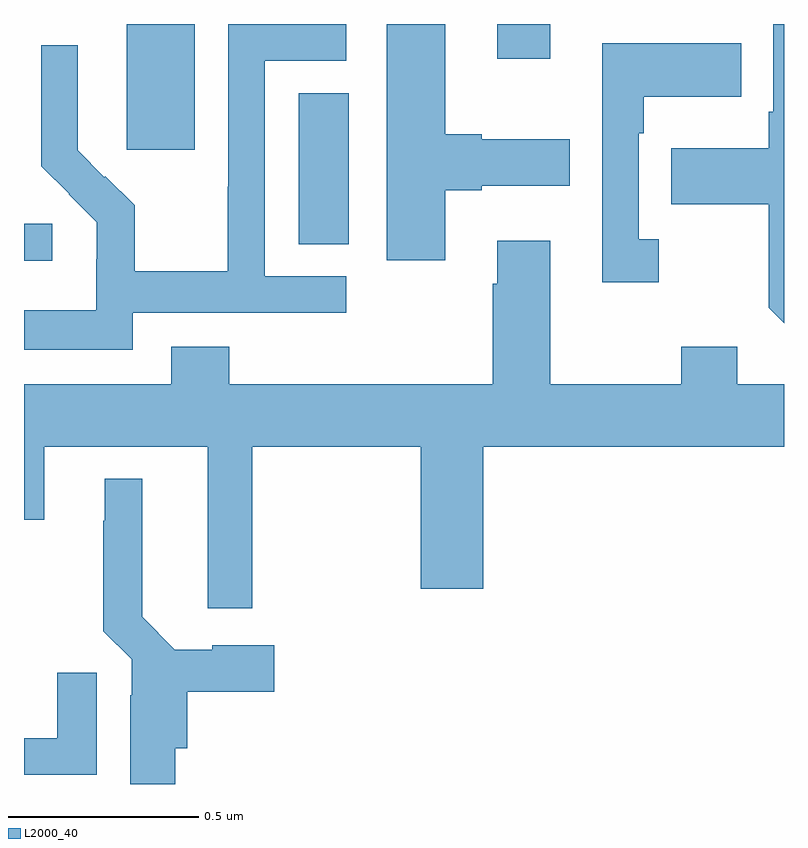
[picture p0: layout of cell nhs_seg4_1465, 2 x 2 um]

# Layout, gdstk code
import gdstk
lib = gdstk.Library(unit=1e-6, precision=1e-09)
def R(c, l, rs):  # rectangles x0, y0, x1, y1
    for r in rs: c.add(gdstk.rectangle(r[:2], r[2:], *l))
def P(c, l, *ps):  # polygons
    for p in ps: c.add(gdstk.Polygon(p, *l))
L2000_40 = (2000, 40)

nhs_seg4_1465 = lib.new_cell('nhs_seg4_1465')
R(nhs_seg4_1465, L2000_40, [(128,829.277,128.074,829.374), (128.723,829.321,128.854,829.718), (128.27,829.569,128.449,829.9), (129.245,829.809,129.385,829.9)])
P(nhs_seg4_1465, L2000_40, [(128.286,829.14),(128.848,829.14),(128.848,829.236),(128.634,829.236),(128.634,829.803),(128.848,829.803),(128.848,829.9),(128.538,829.9),(128.538,829.472),(128.536,829.472),(128.536,829.249),(128.291,829.249),(128.291,829.423),(128.214,829.5),(128.211,829.497),(128.141,829.568),(128.141,829.69),(128.142,829.69),(128.142,829.844),(128.046,829.844),(128.046,829.526),(128.119,829.453),(128.118,829.452),(128.192,829.378),(128.192,829.281),(128.19,829.281),(128.19,829.147),(128,829.147),(128,829.043),(128.286,829.043)],
  [(130,829.9),(129.972,829.9),(129.972,829.669),(129.96,829.669),(129.96,829.573),(129.703,829.573),(129.703,829.426),(129.96,829.426),(129.96,829.153),(130,829.113)],
  [(129.109,829.463),(129.205,829.463),(129.205,829.475),(129.436,829.475),(129.436,829.597),(129.205,829.597),(129.205,829.61),(129.109,829.61),(129.109,829.9),(128.954,829.9),(128.954,829.278),(129.109,829.278)],
  [(129.67,829.334),(129.618,829.334),(129.618,829.613),(129.631,829.613),(129.631,829.709),(129.887,829.709),(129.887,829.849),(129.522,829.849),(129.522,829.221),(129.67,829.221)],
  [(128.601,828.788),(129.044,828.788),(129.044,828.414),(129.208,828.414),(129.208,828.788),(130,828.788),(130,828.952),(129.877,828.952),(129.877,829.051),(129.73,829.051),(129.73,828.952),(129.385,828.952),(129.385,829.33),(129.245,829.33),(129.245,829.217),(129.233,829.217),(129.233,828.952),(128.54,828.952),(128.54,829.051),(128.387,829.051),(128.387,828.952),(128,828.952),(128,828.596),(128.053,828.596),(128.053,828.788),(128.483,828.788),(128.483,828.363),(128.601,828.363)],
  [(128.398,827.994),(128.429,827.994),(128.429,828.143),(128.659,828.143),(128.659,828.265),(128.496,828.265),(128.496,828.253),(128.397,828.253),(128.311,828.34),(128.311,828.703),(128.213,828.703),(128.213,828.593),(128.209,828.593),(128.209,828.302),(128.283,828.228),(128.283,828.134),(128.279,828.134),(128.279,827.9),(128.398,827.9)],
  [(128.191,828.193),(128.087,828.193),(128.087,828.021),(128,828.021),(128,827.925),(128.191,827.925)])

lib.write_gds('nhs_seg4_1465.gds')
